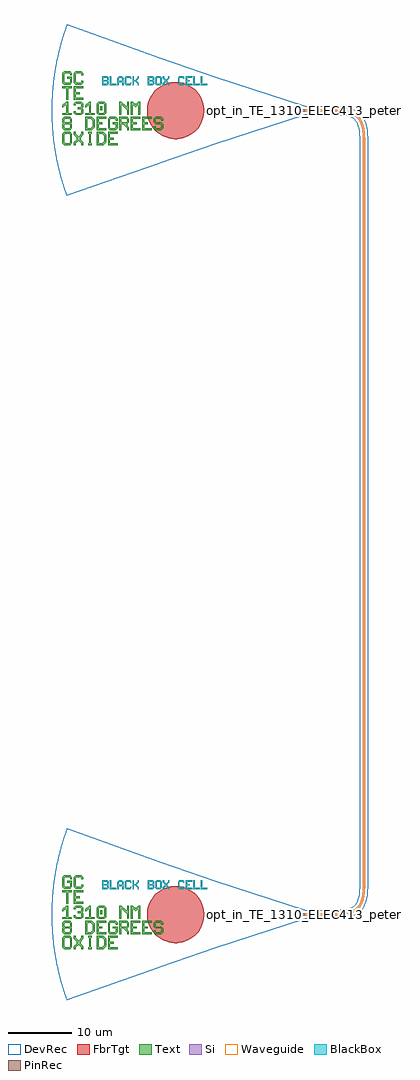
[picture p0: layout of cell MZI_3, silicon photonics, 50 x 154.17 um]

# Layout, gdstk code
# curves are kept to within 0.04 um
import gdstk
lib = gdstk.Library(unit=1e-6, precision=1e-09)
def R(c, l, rs):  # rectangles x0, y0, x1, y1
    for r in rs: c.add(gdstk.rectangle(r[:2], r[2:], *l))
def P(c, l, *ps):  # polygons
    for p in ps: c.add(gdstk.Polygon(p, *l))
Si = (1, 0)
PinRec = (1, 10)
Waveguide = (1, 99)
Text = (10, 0)
DevRec = (68, 0)
FbrTgt = (81, 0)
BlackBox = (998, 0)

text = lib.new_cell('TEXT')
P(text, BlackBox, [(13.2,0),(13.2,1.4),(14.2,1.4),(14.2,1.2),(13.4,1.2),(13.4,0.8),(13.8,0.8),(13.8,0.6),(13.4,0.6),(13.4,0.2),(14.2,0.2),(14.2,0)],
  [(9.6,0),(9.6,0.3),(9.9,0.6),(9.9,0.8),(9.6,1.1),(9.6,1.4),(9.8,1.4),(9.8,1.2),(10.1,0.9),(10.4,1.2),(10.4,1.4),(10.6,1.4),(10.6,1.1),(10.3,0.8),(10.3,0.6),(10.6,0.3),(10.6,0),(10.4,0),(10.4,0.2),(10.1,0.5),(9.8,0.2),(9.8,0)],
  [(8.6,0),(8.4,0.2),(8.4,1.2),(8.6,1.4),(9.2,1.4),(9.4,1.2),(9.4,0.7),(9.2,0.7),(9.2,1.1),(9.1,1.2),(8.7,1.2),(8.6,1.1),(8.6,0.3),(8.7,0.2),(9.1,0.2),(9.2,0.3),(9.2,0.7),(9.4,0.7),(9.4,0.2),(9.2,0)],
  [(4.8,0),(4.8,1.4),(5,1.4),(5,0.8),(5.2,0.8),(5.6,1.2),(5.6,1.4),(5.8,1.4),(5.8,1.1),(5.4,0.7),(5.8,0.3),(5.8,0),(5.6,0),(5.6,0.2),(5.2,0.6),(5,0.6),(5,0)],
  [(3.8,0),(3.6,0.2),(3.6,1.2),(3.8,1.4),(4.4,1.4),(4.6,1.2),(4.6,1),(4.4,1),(4.4,1.1),(4.3,1.2),(3.9,1.2),(3.8,1.1),(3.8,0.3),(3.9,0.2),(4.3,0.2),(4.4,0.3),(4.4,0.4),(4.6,0.4),(4.6,0.2),(4.4,0)],
  [(12.2,0),(12,0.2),(12,1.2),(12.2,1.4),(12.8,1.4),(13,1.2),(13,1),(12.8,1),(12.8,1.1),(12.7,1.2),(12.3,1.2),(12.2,1.1),(12.2,0.3),(12.3,0.2),(12.7,0.2),(12.8,0.3),(12.8,0.4),(13,0.4),(13,0.2),(12.8,0)],
  [(2.4,0),(2.4,1.1),(2.7,1.4),(3.1,1.4),(3.3,1.2),(2.8,1.2),(2.6,1),(2.6,0.7),(3.2,0.7),(3.2,1),(3,1.2),(3.3,1.2),(3.4,1.1),(3.4,0),(3.2,0),(3.2,0.5),(2.6,0.5),(2.6,0)],
  [(1.2,0),(1.2,1.4),(1.4,1.4),(1.4,0.2),(2.2,0.2),(2.2,0)],
  [(14.4,0),(14.4,1.4),(14.6,1.4),(14.6,0.2),(15.4,0.2),(15.4,0)],
  [(15.6,0),(15.6,1.4),(15.8,1.4),(15.8,0.2),(16.6,0.2),(16.6,0)],
  [(0,0),(0,1.4),(0.8,1.4),(1,1.2),(0.2,1.2),(0.2,0.8),(0.7,0.8),(0.8,0.9),(0.8,1.1),(0.7,1.2),(1,1.2),(1,0.8),(0.9,0.7),(1,0.6),(0.2,0.6),(0.2,0.2),(0.7,0.2),(0.8,0.3),(0.8,0.5),(0.7,0.6),(1,0.6),(1,0.2),(0.8,0)],
  [(7.2,0),(7.2,1.4),(8,1.4),(8.2,1.2),(7.4,1.2),(7.4,0.8),(7.9,0.8),(8,0.9),(8,1.1),(7.9,1.2),(8.2,1.2),(8.2,0.8),(8.1,0.7),(8.2,0.6),(7.4,0.6),(7.4,0.2),(7.9,0.2),(8,0.3),(8,0.5),(7.9,0.6),(8.2,0.6),(8.2,0.2),(8,0)])

gc_te_1310_8degoxide_bb = lib.new_cell('GC_TE_1310_8degOxide_BB')
R(gc_te_1310_8degoxide_bb, Si, [(-0.4,-0.175,0,0.175)])
R(gc_te_1310_8degoxide_bb, Text, [(-32.27,0.06,-31.97,0.66)])
P(gc_te_1310_8degoxide_bb, Text, [(-36.17,4.11),(-36.47,4.41),(-36.47,5.91),(-36.17,6.21),(-35.27,6.21),(-34.97,5.91),(-34.97,5.61),(-35.27,5.61),(-35.27,5.76),(-35.42,5.91),(-36.02,5.91),(-36.17,5.76),(-36.17,4.56),(-36.02,4.41),(-35.42,4.41),(-35.27,4.56),(-35.27,4.71),(-34.97,4.71),(-34.97,4.41),(-35.27,4.11)],
  [(-36.47,-5.49),(-36.47,-5.04),(-36.02,-4.59),(-36.02,-4.29),(-36.47,-3.84),(-36.47,-3.39),(-36.17,-3.39),(-36.17,-3.69),(-35.72,-4.14),(-35.27,-3.69),(-35.27,-3.39),(-34.97,-3.39),(-34.97,-3.84),(-35.42,-4.29),(-35.42,-4.59),(-34.97,-5.04),(-34.97,-5.49),(-35.27,-5.49),(-35.27,-5.19),(-35.72,-4.74),(-36.17,-5.19),(-36.17,-5.49)],
  [(-38.27,-0.69),(-38.27,-0.39),(-37.67,-0.39),(-37.67,0.81),(-37.82,0.81),(-38.12,0.51),(-38.27,0.51),(-38.27,0.81),(-37.67,1.41),(-37.37,1.41),(-37.37,-0.39),(-36.77,-0.39),(-36.77,-0.69)],
  [(-34.67,-0.69),(-34.67,-0.39),(-34.07,-0.39),(-34.07,0.81),(-34.22,0.81),(-34.52,0.51),(-34.67,0.51),(-34.67,0.81),(-34.07,1.41),(-33.77,1.41),(-33.77,-0.39),(-33.17,-0.39),(-33.17,-0.69)],
  [(-37.97,-5.49),(-38.27,-5.19),(-38.27,-3.69),(-37.97,-3.39),(-37.07,-3.39),(-36.77,-3.69),(-36.77,-4.44),(-37.07,-4.44),(-37.07,-3.84),(-37.22,-3.69),(-37.82,-3.69),(-37.97,-3.84),(-37.97,-5.04),(-37.82,-5.19),(-37.22,-5.19),(-37.07,-5.04),(-37.07,-4.44),(-36.77,-4.44),(-36.77,-5.19),(-37.07,-5.49)],
  [(-31.07,-5.49),(-31.07,-3.39),(-29.57,-3.39),(-29.57,-3.69),(-30.77,-3.69),(-30.77,-4.29),(-30.17,-4.29),(-30.17,-4.59),(-30.77,-4.59),(-30.77,-5.19),(-29.57,-5.19),(-29.57,-5.49)],
  [(-32.87,-3.09),(-32.87,-0.99),(-31.37,-0.99),(-31.37,-1.29),(-32.57,-1.29),(-32.57,-1.89),(-31.97,-1.89),(-31.97,-2.19),(-32.57,-2.19),(-32.57,-2.79),(-31.37,-2.79),(-31.37,-3.09)],
  [(-27.47,-3.09),(-27.47,-0.99),(-25.97,-0.99),(-25.97,-1.29),(-27.17,-1.29),(-27.17,-1.89),(-26.57,-1.89),(-26.57,-2.19),(-27.17,-2.19),(-27.17,-2.79),(-25.97,-2.79),(-25.97,-3.09)],
  [(-25.67,-3.09),(-25.67,-0.99),(-24.17,-0.99),(-24.17,-1.29),(-25.37,-1.29),(-25.37,-1.89),(-24.77,-1.89),(-24.77,-2.19),(-25.37,-2.19),(-25.37,-2.79),(-24.17,-2.79),(-24.17,-3.09)],
  [(-36.47,1.71),(-36.47,3.81),(-34.97,3.81),(-34.97,3.51),(-36.17,3.51),(-36.17,2.91),(-35.57,2.91),(-35.57,2.61),(-36.17,2.61),(-36.17,2.01),(-34.97,2.01),(-34.97,1.71)],
  [(-27.47,-0.69),(-27.47,1.41),(-27.17,1.41),(-26.87,1.11),(-26.57,1.11),(-26.27,1.41),(-25.97,1.41),(-25.97,-0.69),(-26.27,-0.69),(-26.27,0.81),(-26.42,0.81),(-26.72,0.51),(-27.02,0.81),(-27.17,0.81),(-27.17,-0.69)],
  [(-29.27,-0.69),(-29.27,1.41),(-28.97,1.41),(-28.22,0.66),(-28.07,0.66),(-28.07,1.41),(-27.77,1.41),(-27.77,-0.69),(-28.07,-0.69),(-28.07,0.06),(-28.82,0.81),(-28.97,0.81),(-28.97,-0.69)],
  [(-34.22,-5.49),(-34.22,-5.19),(-34.07,-5.19),(-34.07,-3.69),(-34.22,-3.69),(-34.22,-3.39),(-33.62,-3.39),(-33.62,-3.69),(-33.77,-3.69),(-33.77,-5.19),(-33.62,-5.19),(-33.62,-5.49)],
  [(-37.67,1.71),(-37.67,3.51),(-38.27,3.51),(-38.27,3.81),(-36.77,3.81),(-36.77,3.51),(-37.37,3.51),(-37.37,1.71)],
  [(-36.17,-0.69),(-36.47,-0.39),(-36.47,-0.09),(-36.17,-0.09),(-36.17,-0.24),(-36.02,-0.39),(-35.42,-0.39),(-35.27,-0.24),(-35.27,0.06),(-35.42,0.21),(-35.87,0.21),(-35.87,0.51),(-35.42,0.51),(-35.27,0.66),(-35.27,0.96),(-35.42,1.11),(-36.02,1.11),(-36.17,0.96),(-36.17,0.81),(-36.47,0.81),(-36.47,1.11),(-36.17,1.41),(-35.27,1.41),(-34.97,1.11),(-34.97,0.51),(-35.12,0.36),(-34.97,0.21),(-34.97,-0.39),(-35.27,-0.69)],
  [(-23.57,-3.09),(-23.87,-2.79),(-23.87,-2.49),(-23.57,-2.49),(-23.57,-2.64),(-23.42,-2.79),(-22.82,-2.79),(-22.67,-2.64),(-22.67,-2.34),(-22.82,-2.19),(-23.57,-2.19),(-23.87,-1.89),(-23.87,-1.29),(-23.57,-0.99),(-22.67,-0.99),(-22.37,-1.29),(-22.37,-1.59),(-22.67,-1.59),(-22.67,-1.44),(-22.82,-1.29),(-23.42,-1.29),(-23.57,-1.44),(-23.57,-1.74),(-23.42,-1.89),(-22.67,-1.89),(-22.37,-2.19),(-22.37,-2.79),(-22.67,-3.09)],
  [(-30.77,-3.09),(-31.07,-2.79),(-31.07,-1.29),(-30.77,-0.99),(-29.87,-0.99),(-29.57,-1.29),(-29.57,-1.59),(-29.87,-1.59),(-29.87,-1.44),(-30.02,-1.29),(-30.62,-1.29),(-30.77,-1.44),(-30.77,-2.64),(-30.62,-2.79),(-30.02,-2.79),(-29.87,-2.64),(-29.87,-2.19),(-30.32,-2.19),(-30.32,-1.89),(-29.57,-1.89),(-29.57,-2.79),(-29.87,-3.09)],
  [(-37.97,4.11),(-38.27,4.41),(-38.27,5.91),(-37.97,6.21),(-37.07,6.21),(-36.77,5.91),(-36.77,5.61),(-37.07,5.61),(-37.07,5.76),(-37.22,5.91),(-37.82,5.91),(-37.97,5.76),(-37.97,4.56),(-37.82,4.41),(-37.22,4.41),(-37.07,4.56),(-37.07,5.01),(-37.52,5.01),(-37.52,5.31),(-36.77,5.31),(-36.77,4.41),(-37.07,4.11)],
  [(-29.27,-3.09),(-29.27,-0.99),(-28.07,-0.99),(-27.77,-1.29),(-28.97,-1.29),(-28.97,-1.89),(-28.22,-1.89),(-28.07,-1.74),(-28.07,-1.44),(-28.22,-1.29),(-27.77,-1.29),(-27.77,-1.89),(-28.07,-2.19),(-28.07,-2.34),(-27.77,-2.64),(-27.77,-3.09),(-28.07,-3.09),(-28.07,-2.79),(-28.67,-2.19),(-28.97,-2.19),(-28.97,-3.09)],
  [(-32.57,-0.69),(-32.87,-0.39),(-32.87,1.11),(-32.57,1.41),(-31.67,1.41),(-31.37,1.11),(-32.42,1.11),(-32.57,0.96),(-32.57,-0.24),(-32.42,-0.39),(-31.82,-0.39),(-31.67,-0.24),(-31.67,0.96),(-31.82,1.11),(-31.37,1.11),(-31.37,-0.39),(-31.67,-0.69)],
  [(-37.97,-3.09),(-38.27,-2.79),(-38.27,-2.19),(-38.12,-2.04),(-38.27,-1.89),(-38.27,-1.29),(-37.97,-0.99),(-37.07,-0.99),(-36.77,-1.29),(-37.82,-1.29),(-37.97,-1.44),(-37.97,-1.74),(-37.82,-1.89),(-37.22,-1.89),(-37.07,-1.74),(-37.07,-1.44),(-37.22,-1.29),(-36.77,-1.29),(-36.77,-1.89),(-36.92,-2.04),(-36.77,-2.19),(-37.82,-2.19),(-37.97,-2.34),(-37.97,-2.64),(-37.82,-2.79),(-37.22,-2.79),(-37.07,-2.64),(-37.07,-2.34),(-37.22,-2.19),(-36.77,-2.19),(-36.77,-2.79),(-37.07,-3.09)],
  [(-32.87,-5.49),(-32.87,-3.39),(-31.82,-3.39),(-31.52,-3.69),(-32.57,-3.69),(-32.57,-5.19),(-31.97,-5.19),(-31.67,-4.89),(-31.67,-3.99),(-31.97,-3.69),(-31.52,-3.69),(-31.37,-3.84),(-31.37,-5.04),(-31.82,-5.49)],
  [(-34.67,-3.09),(-34.67,-0.99),(-33.62,-0.99),(-33.32,-1.29),(-34.37,-1.29),(-34.37,-2.79),(-33.77,-2.79),(-33.47,-2.49),(-33.47,-1.59),(-33.77,-1.29),(-33.32,-1.29),(-33.17,-1.44),(-33.17,-2.64),(-33.62,-3.09)])
P(gc_te_1310_8degoxide_bb, DevRec, [(-37.607,-13.5),(-38.627,-10.245),(-39.378,-6.832),(-39.647,-5.058),(-39.835,-3.274),(-39.969,0.224),(-39.812,3.541),(-39.331,7.097),(-38.557,10.505),(-37.546,13.669),(-22.8,8.353),(-14.109,5.36),(0,0.75),(0,-0.75),(-14.109,-5.36)])
P(gc_te_1310_8degoxide_bb, FbrTgt, [(-20.621,-4.5),(-21.495,-4.37),(-22.326,-4.073),(-23.084,-3.619),(-23.738,-3.026),(-24.264,-2.316),(-24.642,-1.518),(-24.857,-0.661),(-24.9,0.221),(-24.77,1.095),(-24.473,1.926),(-24.019,2.684),(-23.426,3.338),(-22.716,3.864),(-21.918,4.242),(-21.061,4.457),(-20.179,4.5),(-19.305,4.37),(-18.474,4.073),(-17.716,3.619),(-17.062,3.026),(-16.536,2.316),(-16.158,1.518),(-15.943,0.661),(-15.9,-0.221),(-16.03,-1.095),(-16.327,-1.926),(-16.781,-2.684),(-17.374,-3.338),(-18.084,-3.864),(-18.882,-4.242),(-19.739,-4.457)])
gc_te_1310_8degoxide_bb.add(gdstk.FlexPath([(-0.01,0),(0.01,0)], 0.35, ends="flush", simple_path=True, layer=1, datatype=10))  # PinRec
gc_te_1310_8degoxide_bb.add(gdstk.Reference(text, (-32,4)))
gc_te_1310_8degoxide_bb.add(gdstk.Label('Component=GC_TE_1310_8degOxide_BB', (-28,-5), layer=68, texttype=0))
gc_te_1310_8degoxide_bb.add(gdstk.Label('Lumerical_INTERCONNECT_library=Design kits/ebeam', (-29,-7), layer=68, texttype=0))
gc_te_1310_8degoxide_bb.add(gdstk.Label('opt1', (0,0), layer=1, texttype=10))

waveguide_18 = lib.new_cell('Waveguide$18')
P(waveguide_18, Si, [(40.852,268.538),(40.852,268.888),(46.236,268.916),(47.422,269.056),(48.335,269.332),(48.745,269.557),(49.086,269.837),(49.367,270.179),(49.592,270.589),(49.897,271.656),(50.018,272.881),(50.035,390.713),(49.995,391.925),(49.837,393.071),(49.685,393.603),(49.485,394.053),(49.233,394.428),(48.924,394.737),(48.219,395.144),(47.267,395.4),(46.235,395.511),(40.852,395.538),(40.852,395.888),(46.058,395.871),(47.162,395.771),(48.08,395.565),(48.831,395.23),(49.334,394.837),(49.726,394.335),(50.061,393.584),(50.267,392.666),(50.375,391.359),(50.368,272.865),(50.212,271.436),(50.062,270.843),(49.854,270.324),(49.583,269.878),(49.243,269.502),(48.832,269.197),(48.477,269.012),(47.488,268.712),(46.256,268.566)])
P(waveguide_18, Waveguide, [(40.852,268.538),(40.852,268.888),(46.236,268.916),(47.422,269.056),(48.335,269.332),(48.745,269.557),(49.086,269.837),(49.367,270.179),(49.592,270.589),(49.897,271.656),(50.018,272.881),(50.035,390.713),(49.995,391.925),(49.837,393.071),(49.685,393.603),(49.485,394.053),(49.233,394.428),(48.924,394.737),(48.219,395.144),(47.267,395.4),(46.235,395.511),(40.852,395.538),(40.852,395.888),(46.058,395.871),(47.162,395.771),(48.08,395.565),(48.831,395.23),(49.334,394.837),(49.726,394.335),(50.061,393.584),(50.267,392.666),(50.375,391.359),(50.368,272.865),(50.212,271.436),(50.062,270.843),(49.854,270.324),(49.583,269.878),(49.243,269.502),(48.832,269.197),(48.477,269.012),(47.488,268.712),(46.256,268.566)])
P(waveguide_18, DevRec, [(40.852,268.038),(40.852,269.388),(46.447,269.431),(47.419,269.566),(47.809,269.668),(48.408,269.935),(48.635,270.099),(48.989,270.516),(49.256,271.115),(49.437,271.958),(49.525,273.061),(49.535,390.713),(49.492,391.95),(49.357,392.922),(49.255,393.312),(48.988,393.911),(48.824,394.138),(48.407,394.492),(47.808,394.759),(46.965,394.94),(45.862,395.028),(40.852,395.038),(40.852,396.388),(45.908,396.378),(47.151,396.278),(48.214,396.047),(49.121,395.638),(49.51,395.354),(50.134,394.625),(50.543,393.718),(50.774,392.655),(50.874,391.413),(50.875,273.015),(50.678,271.219),(50.365,270.235),(49.851,269.413),(49.511,269.073),(48.689,268.559),(47.705,268.246),(46.555,268.085)])
waveguide_18.add(gdstk.FlexPath([(40.862,268.713),(40.842,268.713)], 0.35, ends="flush", simple_path=True, layer=1, datatype=10))  # PinRec
waveguide_18.add(gdstk.FlexPath([(40.862,395.713),(40.842,395.713)], 0.35, ends="flush", simple_path=True, layer=1, datatype=10))  # PinRec
waveguide_18.add(gdstk.Label('waveguide_type=Strip TE 1310 nm, w=350 nm', (40.852,395.573), layer=68, texttype=0))
waveguide_18.add(gdstk.Label('Length=142.623 (microns)', (40.852,395.293), layer=68, texttype=0))
waveguide_18.add(gdstk.Label('cellName=Waveguide', (40.852,395.853), layer=68, texttype=0))
waveguide_18.add(gdstk.Label('Spice_param:wg_length=0.000142623 wg_width=3.5e-07 points="[[40.852,395.713],[50.21,395.713],[50.21,268.713],[40.852,268.713]]" radius=5e-06', (40.852,395.713), layer=68, texttype=0))
waveguide_18.add(gdstk.Label('Component=ebeam_wg_integral_1310', (40.852,395.783), layer=68, texttype=0))
waveguide_18.add(gdstk.Label('Lumerical_INTERCONNECT_library=Design kits/EBeam', (40.852,395.643), layer=68, texttype=0))
waveguide_18.add(gdstk.Label('opt2', (40.852,268.713), layer=1, texttype=10))
waveguide_18.add(gdstk.Label('opt1', (40.852,395.713), layer=1, texttype=10))

mzi_3 = lib.new_cell('MZI_3')
r = gdstk.Reference(gc_te_1310_8degoxide_bb, (40.852,268.713)); r.repetition = gdstk.Repetition(1, 2, v1=(0,0), v2=(0,127)); mzi_3.add(r)
mzi_3.add(gdstk.Reference(waveguide_18, (0,0)))
mzi_3.add(gdstk.Label('opt_in_TE_1310_ELEC413_petervoznyuk_MZI_3A', (40.85,268.713), layer=10, texttype=0))
mzi_3.add(gdstk.Label('opt_in_TE_1310_ELEC413_petervoznyuk_MZI_3B', (40.852,395.71), layer=10, texttype=0))

lib.write_gds('MZI_3.gds')
